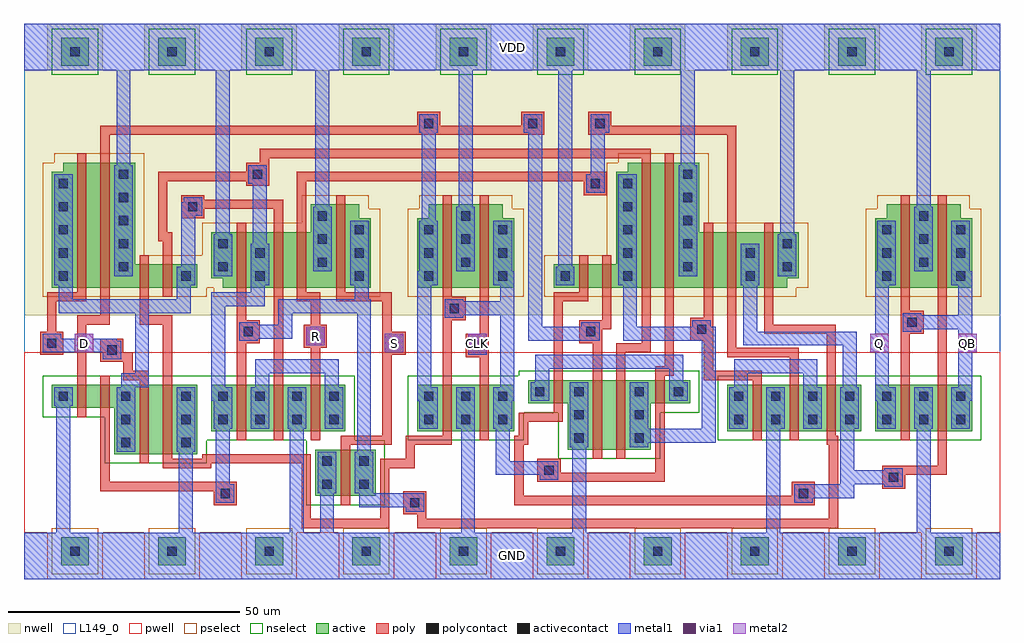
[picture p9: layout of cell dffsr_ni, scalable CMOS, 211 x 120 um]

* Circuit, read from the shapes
.subckt dffsr_ni CLK D GND Q QB R S VDD
M1 n1 n2 GND GND nfet w=5u l=2u
M2 n3 n4 n1 GND nfet w=5u l=2u
M3 n5 D n3 GND nfet w=15u l=2u
M4 GND n6 n5 GND nfet w=15u l=2u
M5 n7 n8 n4 GND nfet w=10u l=2u
M6 GND n3 n7 GND nfet w=10u l=2u
M7 n7 R GND GND nfet w=10u l=2u
M8 n8 S GND GND nfet w=10u l=2u
M9 GND n6 n2 GND nfet w=10u l=2u
M10 n6 CLK GND GND nfet w=10u l=2u
M11 GND n9 n10 GND nfet w=5u l=2u
M12 n11 n2 GND GND nfet w=15u l=2u
M13 n12 n4 n11 GND nfet w=15u l=2u
M14 n10 n6 n12 GND nfet w=5u l=2u
M15 GND n12 n13 GND nfet w=10u l=2u
M16 n13 R GND GND nfet w=10u l=2u
M17 n9 n8 n13 GND nfet w=10u l=2u
M18 GND QB Q GND nfet w=10u l=2u
M19 QB n9 GND GND nfet w=10u l=2u
M20 n14 D n3 VDD pfet w=27u l=2u
M21 VDD n2 n14 VDD pfet w=27u l=2u
M22 n15 n6 VDD VDD pfet w=5u l=2u
M23 n3 n4 n15 VDD pfet w=5u l=2u
M24 n4 n8 VDD VDD pfet w=12u l=2u
M25 n16 n3 n4 VDD pfet w=12u l=2u
M26 VDD R n16 VDD pfet w=12u l=2u
M27 n8 S VDD VDD pfet w=18u l=2u
M28 VDD n6 n2 VDD pfet w=18u l=2u
M29 n6 CLK VDD VDD pfet w=18u l=2u
M30 n17 n9 VDD VDD pfet w=5u l=2u
M31 n12 n2 n17 VDD pfet w=5u l=2u
M32 n18 n4 n12 VDD pfet w=27u l=2u
M33 VDD n6 n18 VDD pfet w=27u l=2u
M34 n19 n12 VDD VDD pfet w=12u l=2u
M35 n9 R n19 VDD pfet w=12u l=2u
M36 VDD n8 n9 VDD pfet w=12u l=2u
M37 VDD QB Q VDD pfet w=18u l=2u
M38 QB n9 VDD VDD pfet w=18u l=2u
.ends

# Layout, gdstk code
from math import pi, radians
import gdstk
lib = gdstk.Library(unit=1e-6, precision=1e-09)
def R(c, l, rs):  # rectangles x0, y0, x1, y1
    for r in rs: c.add(gdstk.rectangle(r[:2], r[2:], *l))
def A(c, l, x, y, w, h, nx, ny, dx, dy):  # array of equal rectangles
    R(c, l, [(x+i*dx, y+j*dy, x+i*dx+w, y+j*dy+h) for i in range(nx) for j in range(ny)])
def P(c, l, *ps):  # polygons
    for p in ps: c.add(gdstk.Polygon(p, *l))
pwell = (41, 0)
nwell = (42, 0)
active = (43, 0)
pselect = (44, 0)
nselect = (45, 0)
poly = (46, 0)
polycontact = (47, 0)
activecontact = (48, 0)
metal1 = (49, 0)
via1 = (50, 0)
metal2 = (51, 0)
L149_0 = (149, 0)

via = lib.new_cell('via')
R(via, metal1, [(-2,-2,2,2)])
R(via, via1, [(-1,-1,1,1)])
R(via, metal2, [(-2,-2,2,2)])

dffsr_ni = lib.new_cell('dffsr_ni')
A(dffsr_ni, pwell, 5, 0, 12, 11, 10, 1, 21, 0)
R(dffsr_ni, pwell, [(0,10,211,20), (57,12,82,34), (0,20,211,49), (34.5,26,75.5,48), (79,26,112,48), (146,26,187,48), (178,26,211,48)])
P(dffsr_ni, pwell, [(13.5,21),(13.5,31),(0,31),(0,48),(43.5,48),(43.5,21)],
  [(111.5,22),(111.5,32),(103,32),(103,49),(150,49),(150,32),(141.5,32),(141.5,22)])
A(dffsr_ni, nwell, 5, 109, 12, 11, 10, 1, 21, 0)
R(dffsr_ni, nwell, [(0,57,211,95), (0,95,211,110)])
P(dffsr_ni, nwell, [(43.5,57),(43.5,74),(30,74),(30,96),(2.5,96),(2.5,94),(0,94),(0,57)],
  [(79,57),(79,84),(81.5,84),(81.5,87),(109.5,87),(109.5,84),(112,84),(112,57)],
  [(81,57),(81,84),(78.5,84),(78.5,87),(56,87),(56,81),(34.5,81),(34.5,59),(37,59),(37,57)],
  [(171,57),(171,59),(173.5,59),(173.5,81),(152,81),(152,96),(124.5,96),(124.5,94),(122,94),(122,74),(108.5,74),(108.5,57)],
  [(211,57),(211,84),(208.5,84),(208.5,87),(180.5,87),(180.5,84),(178,84),(178,57)])
A(dffsr_ni, active, 8, 3, 6, 6, 10, 2, 21, 108)
R(dffsr_ni, active, [(63,18,68.5,28), (63,18,76,28), (70.5,18,76,28), (32,27,37.5,42), (40.5,32,46,42), (40.5,32,69.5,42), (64,32,69.5,42), (85,32,90.5,42), (85,32,106,42), (100.5,32,106,42), (152,32,157.5,42), (152,32,181,42), (175.5,32,181,42), (184,32,189.5,42), (184,32,205,42), (199.5,32,205,42), (6,37,11.5,42), (109,38,114.5,43), (138.5,38,144,43), (32,63,37.5,68), (114.5,63,120,68)])
P(dffsr_ni, active, [(19.5,27),(19.5,37),(6,37),(6,42),(37.5,42),(37.5,27)],
  [(11.5,63),(11.5,90),(8.5,90),(8.5,88),(6,88),(6,63)],
  [(37.5,63),(37.5,68),(24,68),(24,90),(8.5,90),(8.5,88),(6,88),(6,63)],
  [(100.5,63),(100.5,81),(103.5,81),(103.5,78),(106,78),(106,63)],
  [(85,63),(85,78),(87.5,78),(87.5,81),(103.5,81),(103.5,78),(106,78),(106,63)],
  [(85,63),(85,78),(87.5,78),(87.5,81),(90.5,81),(90.5,63)],
  [(46,63),(46,75),(40.5,75),(40.5,65),(43,65),(43,63)],
  [(75,63),(75,78),(72.5,78),(72.5,81),(62,81),(62,75),(40.5,75),(40.5,65),(43,65),(43,63)],
  [(75,63),(75,78),(72.5,78),(72.5,81),(69.5,81),(69.5,63)],
  [(165,63),(165,65),(167.5,65),(167.5,75),(146,75),(146,90),(130.5,90),(130.5,88),(128,88),(128,68),(114.5,68),(114.5,63)],
  [(165,63),(165,65),(167.5,65),(167.5,75),(162,75),(162,63)],
  [(117.5,28),(117.5,38),(109,38),(109,43),(144,43),(144,38),(135.5,38),(135.5,28)],
  [(189.5,63),(189.5,81),(186.5,81),(186.5,78),(184,78),(184,63)],
  [(205,63),(205,78),(202.5,78),(202.5,81),(186.5,81),(186.5,78),(184,78),(184,63)],
  [(205,63),(205,78),(202.5,78),(202.5,81),(199.5,81),(199.5,63)])
A(dffsr_ni, pselect, 6, 1, 10, 10, 10, 1, 21, 0)
P(dffsr_ni, pselect, [(39.5,61),(39.5,70),(26,70),(26,92),(6.5,92),(6.5,90),(4,90),(4,61)],
  [(83,61),(83,80),(85.5,80),(85.5,83),(105.5,83),(105.5,80),(108,80),(108,61)],
  [(77,61),(77,80),(74.5,80),(74.5,83),(60,83),(60,77),(38.5,77),(38.5,63),(41,63),(41,61)],
  [(167,61),(167,63),(169.5,63),(169.5,77),(148,77),(148,92),(128.5,92),(128.5,90),(126,90),(126,70),(112.5,70),(112.5,61)],
  [(207,61),(207,80),(204.5,80),(204.5,83),(184.5,83),(184.5,80),(182,80),(182,61)])
A(dffsr_ni, nselect, 6, 109, 10, 10, 10, 1, 21, 0)
R(dffsr_ni, nselect, [(61,16,78,30), (38.5,30,71.5,44), (83,30,108,44), (150,30,183,44), (182,30,207,44)])
P(dffsr_ni, nselect, [(17.5,25),(17.5,35),(4,35),(4,44),(39.5,44),(39.5,25)],
  [(115.5,26),(115.5,36),(107,36),(107,45),(146,45),(146,36),(137.5,36),(137.5,26)])
A(dffsr_ni, poly, 46, 30, 2, 2, 3, 2, 8, 12)
A(dffsr_ni, poly, 157.5, 30, 2, 2, 3, 2, 8, 12)
A(dffsr_ni, poly, 46, 32, 2, 10, 3, 1, 8, 0)
A(dffsr_ni, poly, 157.5, 32, 2, 10, 3, 1, 8, 0)
R(dffsr_ni, poly, [(82,14,87,19), (41,16,46,21), (68.5,16,70.5,18), (166,16,171,21), (68.5,18,70.5,28), (185.5,19.5,190.5,24.5), (111,21,116,26), (25,25,27,27), (30,25,32,27), (123,26,125,28), (128,26,130,28), (25,27,27,42), (30,27,32,42), (68.5,28,70.5,30), (123,28,125,43), (128,28,130,43), (90.5,30,92.5,32), (98.5,30,100.5,32), (189.5,30,191.5,32), (197.5,30,199.5,32), (90.5,32,92.5,42), (98.5,32,100.5,42), (189.5,32,191.5,42), (197.5,32,199.5,42), (11.5,35,13.5,37), (16.5,35,18.5,37), (114.5,36,116.5,38), (136.5,36,138.5,38), (11.5,37,13.5,42), (16.5,37,18.5,42), (114.5,38,116.5,43), (136.5,38,138.5,43), (11.5,42,13.5,44), (16.5,42,18.5,44), (25,42,27,44), (30,42,32,44), (90.5,42,92.5,44), (98.5,42,100.5,44), (189.5,42,191.5,44), (197.5,42,199.5,44), (114.5,43,116.5,45), (123,43,125,45), (128,43,130,45), (136.5,43,138.5,45), (16.5,47,21.5,52), (95.5,48,100.5,53), (3.5,48.5,8.5,53.5), (77.5,48.5,82.5,53.5), (60.5,50,65.5,55), (46,51,51,56), (120,51,125,56), (144,51.5,149,56.5), (189.5,53,194.5,58), (90.5,56,95.5,61), (11.5,61,13.5,63), (16.5,61,18.5,63), (25,61,27,63), (30,61,32,63), (46,61,48,63), (54,61,56,63), (59,61,61,63), (67.5,61,69.5,63), (90.5,61,92.5,63), (98.5,61,100.5,63), (120,61,122,63), (125,61,127,63), (133.5,61,135.5,63), (138.5,61,140.5,63), (147,61,149,63), (152,61,154,63), (160,61,162,63), (189.5,61,191.5,63), (197.5,61,199.5,63), (11.5,63,13.5,90), (16.5,63,18.5,90), (25,63,27,68), (30,63,32,68), (46,63,48,75), (54,63,56,75), (59,63,61,75), (67.5,63,69.5,81), (90.5,63,92.5,81), (98.5,63,100.5,81), (120,63,122,68), (125,63,127,68), (133.5,63,135.5,90), (138.5,63,140.5,90), (147,63,149,75), (152,63,154,75), (160,63,162,75), (189.5,63,191.5,81), (197.5,63,199.5,81), (25,68,27,70), (30,68,32,70), (120,68,122,70), (125,68,127,70), (46,75,48,77), (54,75,56,77), (59,75,61,77), (147,75,149,77), (152,75,154,77), (160,75,162,77), (34,78,39,83), (67.5,81,69.5,83), (90.5,81,92.5,83), (98.5,81,100.5,83), (189.5,81,191.5,83), (197.5,81,199.5,83), (48,85,53,90), (11.5,90,13.5,92), (16.5,90,18.5,92), (133.5,90,135.5,92), (138.5,90,140.5,92), (85,96,90,101), (107.5,96,112.5,101), (122,96,127,101)])
P(dffsr_ni, poly, [(59,77),(61,77),(61,86),(121,86),(121,83),(126,83),(126,88),(59,88)],
  [(67.5,60),(77.5,60),(77.5,31),(68.5,31),(68.5,29),(79.5,29),(79.5,62),(67.5,62)])
R(dffsr_ni, polycontact, [(83.5,15.5,85.5,17.5), (42.5,17.5,44.5,19.5), (167.5,17.5,169.5,19.5), (187,21,189,23), (112.5,22.5,114.5,24.5), (18,48.5,20,50.5), (97,49.5,99,51.5), (5,50,7,52), (79,50,81,52), (62,51.5,64,53.5), (47.5,52.5,49.5,54.5), (121.5,52.5,123.5,54.5), (145.5,53,147.5,55), (191,54.5,193,56.5), (92,57.5,94,59.5), (35.5,79.5,37.5,81.5), (122.5,84.5,124.5,86.5), (49.5,86.5,51.5,88.5), (86.5,97.5,88.5,99.5), (109,97.5,111,99.5), (123.5,97.5,125.5,99.5)])
A(dffsr_ni, activecontact, 10, 5, 2, 2, 10, 2, 21, 108)
A(dffsr_ni, activecontact, 21, 28.5, 2, 2, 1, 3, 0, 5)
A(dffsr_ni, activecontact, 119, 29.5, 2, 2, 1, 3, 0, 5)
A(dffsr_ni, activecontact, 132, 29.5, 2, 2, 1, 3, 0, 5)
A(dffsr_ni, activecontact, 34, 33.5, 2, 2, 5, 2, 8, 5)
A(dffsr_ni, activecontact, 86.5, 33.5, 2, 2, 3, 2, 8, 5)
A(dffsr_ni, activecontact, 153.5, 33.5, 2, 2, 7, 2, 8, 5)
A(dffsr_ni, activecontact, 7.5, 64.5, 2, 2, 1, 5, 0, 5)
A(dffsr_ni, activecontact, 71.5, 64.5, 2, 2, 1, 3, 0, 5)
A(dffsr_ni, activecontact, 86.5, 64.5, 2, 2, 1, 3, 0, 5)
A(dffsr_ni, activecontact, 102.5, 64.5, 2, 2, 3, 1, 13.5, 0)
A(dffsr_ni, activecontact, 185.5, 64.5, 2, 2, 1, 3, 0, 5)
A(dffsr_ni, activecontact, 201.5, 64.5, 2, 2, 1, 3, 0, 5)
A(dffsr_ni, activecontact, 20.5, 66.5, 2, 2, 1, 5, 0, 5)
A(dffsr_ni, activecontact, 142.5, 66.5, 2, 2, 1, 5, 0, 5)
A(dffsr_ni, activecontact, 63.5, 67.5, 2, 2, 1, 3, 0, 5)
A(dffsr_ni, activecontact, 94.5, 67.5, 2, 2, 1, 3, 0, 5)
A(dffsr_ni, activecontact, 193.5, 67.5, 2, 2, 1, 3, 0, 5)
A(dffsr_ni, activecontact, 129.5, 69.5, 2, 2, 1, 4, 0, 5)
R(dffsr_ni, activecontact, [(64.5,19.5,66.5,21.5), (72.5,19.5,74.5,21.5), (64.5,24.5,66.5,26.5), (72.5,24.5,74.5,26.5), (34,28.5,36,30.5), (7.5,38.5,9.5,40.5), (110.5,39.5,112.5,41.5), (140.5,39.5,142.5,41.5), (34,64.5,36,66.5), (50,64.5,52,66.5), (156,64.5,158,66.5), (42,66.5,44,68.5), (164,66.5,166,68.5), (50,69.5,52,71.5), (102.5,69.5,104.5,71.5), (156,69.5,158,71.5), (42,71.5,44,73.5), (164,71.5,166,73.5), (102.5,74.5,104.5,76.5)])
A(dffsr_ni, metal1, 41, 32.5, 4, 9, 4, 1, 8, 0)
A(dffsr_ni, metal1, 85.5, 32.5, 4, 9, 3, 1, 8, 0)
A(dffsr_ni, metal1, 152.5, 32.5, 4, 9, 7, 1, 8, 0)
R(dffsr_ni, metal1, [(0,0,211,10), (0,0,211,10), (82.5,14.5,86.5,18.5), (41.5,16.5,45.5,20.5), (166.5,16.5,170.5,20.5), (63.5,18.5,67.5,27.5), (71.5,18.5,75.5,27.5), (186,20,190,24), (111.5,21.5,115.5,25.5), (20,27.5,24,41.5), (33,27.5,37,41.5), (118,28.5,122,42.5), (131,28.5,135,42.5), (6.5,37.5,10.5,41.5), (109.5,38.5,113.5,42.5), (139.5,38.5,143.5,42.5), (17,47.5,21,51.5), (96,48.5,100,52.5), (4,49,8,53), (78,49,82,53), (61,50.5,65,54.5), (46.5,51.5,50.5,55.5), (120.5,51.5,124.5,55.5), (144.5,52,148.5,56), (190,53.5,194,57.5), (91,56.5,95,60.5), (6.5,63.5,10.5,87.5), (33,63.5,37,67.5), (49,63.5,53,72.5), (70.5,63.5,74.5,77.5), (85.5,63.5,89.5,77.5), (101.5,63.5,105.5,77.5), (115,63.5,119,67.5), (128.5,63.5,132.5,87.5), (155,63.5,159,72.5), (184.5,63.5,188.5,77.5), (200.5,63.5,204.5,77.5), (19.5,65.5,23.5,89.5), (41,65.5,45,74.5), (141.5,65.5,145.5,89.5), (163,65.5,167,74.5), (62.5,66.5,66.5,80.5), (93.5,66.5,97.5,80.5), (192.5,66.5,196.5,80.5), (34.5,78.5,38.5,82.5), (121.5,83.5,125.5,87.5), (48.5,85.5,52.5,89.5), (85.5,96.5,89.5,100.5), (108,96.5,112,100.5), (122.5,96.5,126.5,100.5), (0,110,211,120), (0,110,211,120)])
R(dffsr_ni, metal2, [(11,49,15,53), (78,49,82,53), (96,49,100,53), (183,49,187,53), (202,49,206,53), (61,50.5,65,54.5)])
R(dffsr_ni, L149_0, [(0,0,211,120)])
dffsr_ni.add(gdstk.FlexPath([(186,22),(179.5,22)], 3, ends="flush", simple_path=True, layer=49, datatype=0))  # metal1
dffsr_ni.add(gdstk.FlexPath([(35,27.5),(35,10)], 3, ends="flush", simple_path=True, layer=49, datatype=0))  # metal1
dffsr_ni.add(gdstk.FlexPath([(59,32.5),(59,10)], 3, ends="flush", simple_path=True, layer=49, datatype=0))  # metal1
dffsr_ni.add(gdstk.FlexPath([(65.5,18.5),(65.5,10)], 3, ends="flush", simple_path=True, layer=49, datatype=0))  # metal1
dffsr_ni.add(gdstk.FlexPath([(120,10),(120,28.5)], 3, ends="flush", simple_path=True, layer=49, datatype=0))  # metal1
dffsr_ni.add(gdstk.FlexPath([(96,32.5),(96,10)], 3, ends="flush", simple_path=True, layer=49, datatype=0))  # metal1
dffsr_ni.add(gdstk.FlexPath([(111.5,24),(103.5,24),(103.5,32.5)], 3, ends="flush", simple_path=True, layer=49, datatype=0))  # metal1
dffsr_ni.add(gdstk.FlexPath([(82.5,17),(72.5,17)], 3, ends="flush", simple_path=True, layer=49, datatype=0))  # metal1
dffsr_ni.add(gdstk.FlexPath([(178,32.5),(178,19),(170.5,19)], 3, ends="flush", simple_path=True, layer=49, datatype=0))  # metal1
dffsr_ni.add(gdstk.FlexPath([(162,10),(162,32.5)], 3, ends="flush", simple_path=True, layer=49, datatype=0))  # metal1
dffsr_ni.add(gdstk.FlexPath([(43,32.5),(43,20.5)], 3, ends="flush", simple_path=True, layer=49, datatype=0))  # metal1
dffsr_ni.add(gdstk.FlexPath([(194.5,10),(194.5,32.5)], 3, ends="flush", simple_path=True, layer=49, datatype=0))  # metal1
dffsr_ni.add(gdstk.FlexPath([(173.5,30),(175,30),(175,12),(86,12)], 2, ends="flush", simple_path=True, layer=46, datatype=0))  # poly
dffsr_ni.add(gdstk.FlexPath([(87,12),(86,12),(86,14)], 2, ends="flush", simple_path=True, layer=46, datatype=0))  # poly
dffsr_ni.add(gdstk.FlexPath([(92.5,30),(83.5,30),(83.5,25),(78,25),(78,12),(61,12),(61,26),(39.5,26),(39.5,25),(30,25)], 2, ends="flush", simple_path=True, layer=46, datatype=0))  # poly
dffsr_ni.add(gdstk.FlexPath([(190.5,23.5),(198.5,23.5),(198.5,30)], 2, ends="flush", simple_path=True, layer=46, datatype=0))  # poly
dffsr_ni.add(gdstk.FlexPath([(124,96.5),(124,87.5)], 3, ends="flush", simple_path=True, layer=49, datatype=0))  # metal1
dffsr_ni.add(gdstk.FlexPath([(120.5,53),(110.5,53),(110.5,96.5)], 3, ends="flush", simple_path=True, layer=49, datatype=0))  # metal1
dffsr_ni.add(gdstk.FlexPath([(203.5,38.5),(203.5,66.5)], 3, ends="flush", simple_path=True, layer=49, datatype=0))  # metal1
dffsr_ni.add(gdstk.FlexPath([(86.5,66.5),(86.5,38.5)], 3, ends="flush", simple_path=True, layer=49, datatype=0))  # metal1
dffsr_ni.add(gdstk.FlexPath([(178.5,41.5),(178.5,52),(157,52),(157,63.5)], 3, ends="flush", simple_path=True, layer=49, datatype=0))  # metal1
dffsr_ni.add(gdstk.FlexPath([(87.5,96.5),(87.5,77.5)], 3, ends="flush", simple_path=True, layer=49, datatype=0))  # metal1
dffsr_ni.add(gdstk.FlexPath([(185.5,38.5),(185.5,66.5)], 3, ends="flush", simple_path=True, layer=49, datatype=0))  # metal1
dffsr_ni.add(gdstk.FlexPath([(51,72.5),(51,85.5)], 3, ends="flush", simple_path=True, layer=49, datatype=0))  # metal1
dffsr_ni.add(gdstk.FlexPath([(73,63.5),(73,59),(73.5,59),(73.5,27.5)], 3, ends="flush", simple_path=True, layer=49, datatype=0))  # metal1
dffsr_ni.add(gdstk.FlexPath([(143.5,89.5),(143.5,110)], 3, ends="flush", simple_path=True, layer=49, datatype=0))  # metal1
dffsr_ni.add(gdstk.FlexPath([(8,50.5),(20,50.5)], 3, ends="flush", simple_path=True, layer=49, datatype=0))  # metal1
dffsr_ni.add(gdstk.FlexPath([(95.5,110),(95.5,80.5)], 3, ends="flush", simple_path=True, layer=49, datatype=0))  # metal1
dffsr_ni.add(gdstk.FlexPath([(141,42.5),(141,47),(112,47),(112,42.5)], 3, ends="flush", simple_path=True, layer=49, datatype=0))  # metal1
dffsr_ni.add(gdstk.FlexPath([(131,63.5),(131,53),(148,53),(148,31),(135,31)], 3, ends="flush", simple_path=True, layer=49, datatype=0))  # metal1
dffsr_ni.add(gdstk.FlexPath([(95,58.5),(103,58.5)], 3, ends="flush", simple_path=True, layer=49, datatype=0))  # metal1
dffsr_ni.add(gdstk.FlexPath([(104.5,38.5),(104.5,66.5)], 3, ends="flush", simple_path=True, layer=49, datatype=0))  # metal1
dffsr_ni.add(gdstk.FlexPath([(64.5,110),(64.5,80.5)], 3, ends="flush", simple_path=True, layer=49, datatype=0))  # metal1
dffsr_ni.add(gdstk.FlexPath([(35.5,67.5),(35.5,81.5)], 3, ends="flush", simple_path=True, layer=49, datatype=0))  # metal1
dffsr_ni.add(gdstk.FlexPath([(42,38.5),(42,60.5),(50.5,60.5),(50.5,63.5)], 3, ends="flush", simple_path=True, layer=49, datatype=0))  # metal1
dffsr_ni.add(gdstk.FlexPath([(165,74.5),(165,110)], 3, ends="flush", simple_path=True, layer=49, datatype=0))  # metal1
dffsr_ni.add(gdstk.FlexPath([(25.5,57.5),(25.5,43),(22.5,43),(22.5,41.5)], 3, ends="flush", simple_path=True, layer=49, datatype=0))  # metal1
dffsr_ni.add(gdstk.FlexPath([(117,110),(117,67.5)], 3, ends="flush", simple_path=True, layer=49, datatype=0))  # metal1
dffsr_ni.add(gdstk.FlexPath([(71.5,59),(56.5,59),(56.5,53.5),(50.5,53.5)], 3, ends="flush", simple_path=True, layer=49, datatype=0))  # metal1
dffsr_ni.add(gdstk.FlexPath([(34.5,63.5),(34.5,59),(9,59),(9,63.5)], 3, ends="flush", simple_path=True, layer=49, datatype=0))  # metal1
dffsr_ni.add(gdstk.FlexPath([(66.5,41.5),(66.5,46),(51.5,46),(51.5,41.5)], 3, ends="flush", simple_path=True, layer=49, datatype=0))  # metal1
dffsr_ni.add(gdstk.FlexPath([(43,74.5),(43,110)], 3, ends="flush", simple_path=True, layer=49, datatype=0))  # metal1
dffsr_ni.add(gdstk.FlexPath([(8.5,10),(8.5,37.5)], 3, ends="flush", simple_path=True, layer=49, datatype=0))  # metal1
dffsr_ni.add(gdstk.FlexPath([(21.5,89.5),(21.5,110)], 3, ends="flush", simple_path=True, layer=49, datatype=0))  # metal1
dffsr_ni.add(gdstk.FlexPath([(170,41.5),(170,46),(155,46),(155,41.5)], 3, ends="flush", simple_path=True, layer=49, datatype=0))  # metal1
dffsr_ni.add(gdstk.FlexPath([(194,55.5),(202,55.5)], 3, ends="flush", simple_path=True, layer=49, datatype=0))  # metal1
dffsr_ni.add(gdstk.FlexPath([(194.5,110),(194.5,80.5)], 3, ends="flush", simple_path=True, layer=49, datatype=0))  # metal1
dffsr_ni.add(gdstk.FlexPath([(52,90),(52,92),(135.5,92)], 2, ends="flush", simple_path=True, layer=46, datatype=0))  # poly
dffsr_ni.add(gdstk.FlexPath([(115.5,22),(137.5,22),(137.5,36)], 2, ends="flush", simple_path=True, layer=46, datatype=0))  # poly
dffsr_ni.add(gdstk.FlexPath([(139.5,61),(139.5,45),(136.5,45)], 2, ends="flush", simple_path=True, layer=46, datatype=0))  # poly
dffsr_ni.add(gdstk.FlexPath([(116.5,35),(108,35),(108,30),(107,30),(107,17),(166,17)], 2, ends="flush", simple_path=True, layer=46, datatype=0))  # poly
dffsr_ni.add(gdstk.FlexPath([(126,61),(126,55),(124,55),(124,45)], 2, ends="flush", simple_path=True, layer=46, datatype=0))  # poly
dffsr_ni.add(gdstk.FlexPath([(134.5,61),(134.5,50),(129,50),(129,45)], 2, ends="flush", simple_path=True, layer=46, datatype=0))  # poly
dffsr_ni.add(gdstk.FlexPath([(17.5,92),(17.5,97),(86,97)], 2, ends="flush", simple_path=True, layer=46, datatype=0))  # poly
dffsr_ni.add(gdstk.FlexPath([(166.5,44),(166.5,49),(153,49),(153,61)], 2, ends="flush", simple_path=True, layer=46, datatype=0))  # poly
dffsr_ni.add(gdstk.FlexPath([(63,55),(63,61),(59,61)], 2, ends="flush", simple_path=True, layer=46, datatype=0))  # poly
dffsr_ni.add(gdstk.FlexPath([(161,61),(161,54),(174.5,54),(174.5,44)], 2, ends="flush", simple_path=True, layer=46, datatype=0))  # poly
dffsr_ni.add(gdstk.FlexPath([(159.5,44),(148,44),(148,61)], 2, ends="flush", simple_path=True, layer=46, datatype=0))  # poly
dffsr_ni.add(gdstk.FlexPath([(99.5,61),(99.5,44)], 2, ends="flush", simple_path=True, layer=46, datatype=0))  # poly
dffsr_ni.add(gdstk.FlexPath([(198.5,44),(198.5,61)], 2, ends="flush", simple_path=True, layer=46, datatype=0))  # poly
dffsr_ni.add(gdstk.FlexPath([(17.5,61),(17.5,56),(12.5,56),(12.5,44)], 2, ends="flush", simple_path=True, layer=46, datatype=0))  # poly
dffsr_ni.add(gdstk.FlexPath([(153,77),(153,97),(127,97)], 2, ends="flush", simple_path=True, layer=46, datatype=0))  # poly
dffsr_ni.add(gdstk.FlexPath([(39,81),(55,81),(55,77)], 2, ends="flush", simple_path=True, layer=46, datatype=0))  # poly
dffsr_ni.add(gdstk.FlexPath([(17.5,35),(17.5,20),(43.5,20)], 2, ends="flush", simple_path=True, layer=46, datatype=0))  # poly
dffsr_ni.add(gdstk.FlexPath([(190.5,61),(190.5,44)], 2, ends="flush", simple_path=True, layer=46, datatype=0))  # poly
dffsr_ni.add(gdstk.FlexPath([(122,61),(115.5,61),(115.5,45)], 2, ends="flush", simple_path=True, layer=46, datatype=0))  # poly
dffsr_ni.add(gdstk.FlexPath([(55,44),(55,61)], 2, ends="flush", simple_path=True, layer=46, datatype=0))  # poly
dffsr_ni.add(gdstk.FlexPath([(47,44),(47,61)], 2, ends="flush", simple_path=True, layer=46, datatype=0))  # poly
dffsr_ni.add(gdstk.FlexPath([(48,87),(30,87),(30,74),(31,74),(31,70)], 2, ends="flush", simple_path=True, layer=46, datatype=0))  # poly
dffsr_ni.add(gdstk.FlexPath([(107.5,97),(90,97)], 2, ends="flush", simple_path=True, layer=46, datatype=0))  # poly
dffsr_ni.add(gdstk.FlexPath([(63,44),(63,50)], 2, ends="flush", simple_path=True, layer=46, datatype=0))  # poly
dffsr_ni.add(gdstk.FlexPath([(91.5,44),(91.5,61)], 2, ends="flush", simple_path=True, layer=46, datatype=0))  # poly
dffsr_ni.add(gdstk.FlexPath([(13.5,61),(6,61),(6,53.5)], 2, ends="flush", simple_path=True, layer=46, datatype=0))  # poly
dffsr_ni.add(gdstk.FlexPath([(27,44),(22.5,44),(22.5,49)], 2, ends="flush", simple_path=True, layer=46, datatype=0))  # poly
dffsr_ni.add(gdstk.FlexPath([(26,61),(26,56),(31,56),(31,44)], 2, ends="flush", simple_path=True, layer=46, datatype=0))  # poly
dffsr_ni.add(gdstk.Reference(via, (63,52.5), rotation=pi, x_reflection=True))
dffsr_ni.add(gdstk.Reference(via, (98,51)))
dffsr_ni.add(gdstk.Reference(via, (80,51)))
dffsr_ni.add(gdstk.Reference(via, (13,51)))
dffsr_ni.add(gdstk.Reference(via, (204,51)))
dffsr_ni.add(gdstk.Reference(via, (185,51)))
dffsr_ni.add(gdstk.Label('GND', (105.5,5), layer=2, texttype=0))
dffsr_ni.add(gdstk.Label('D', (13,51), layer=3, texttype=0))
dffsr_ni.add(gdstk.Label('R', (63,52.5), layer=3, texttype=0))
dffsr_ni.add(gdstk.Label('S', (80,51), layer=3, texttype=0))
dffsr_ni.add(gdstk.Label('CLK', (98,51), layer=3, texttype=0))
dffsr_ni.add(gdstk.Label('Q', (185,51), layer=3, texttype=0))
dffsr_ni.add(gdstk.Label('QB', (204,51), layer=3, texttype=0))
dffsr_ni.add(gdstk.Label('VDD', (105.5,115), layer=2, texttype=0))

lib.write_gds('dffsr_ni.gds')
